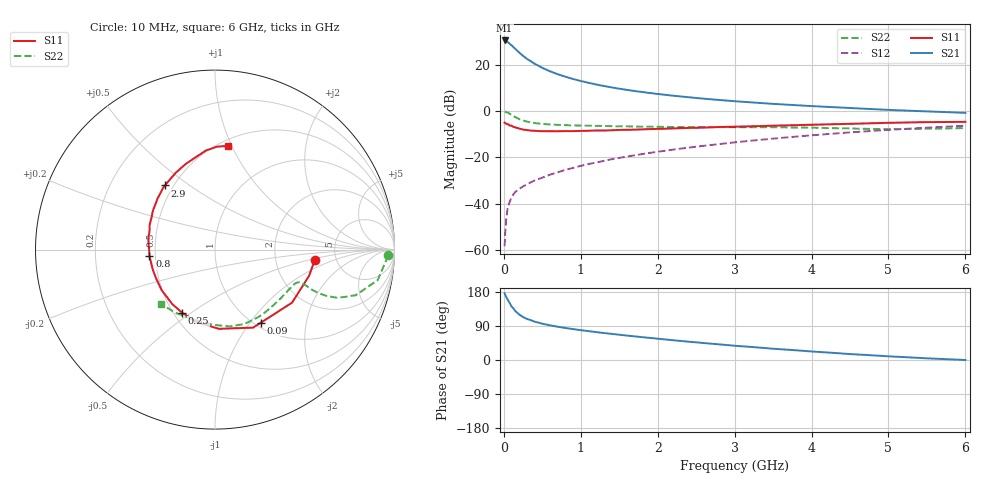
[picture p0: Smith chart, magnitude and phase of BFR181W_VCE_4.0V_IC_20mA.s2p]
! (c) 2017  Infineon Technologies AG, Munich
! Infineon Technologies  Discrete & RF Semiconductors
! BFR181W
! VCE =  4.0 V,  IC =  20 mA
! Common Emitter S-Parameters:  Jan 2017
# GHz  S  MA  R  50
!  f  S11  S21  S12  S22
! GHz  MAG  ANG  MAG  ANG  MAG  ANG  MAG  ANG
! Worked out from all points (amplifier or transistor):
!   77 points, 10 MHz to 6 GHz, reference 50 ohm
!   highest |S21| = 30.4 dB at 10 MHz (marker M1)
!   |S21| within 3 dB of that: start of sweep to 129.1 MHz
!   unconditionally stable (mu >= 1): 509.2 MHz to 2.543 GHz
!   at 130 MHz: K = 0.46, MSG = 31.6 dB, |S12| = -35.8 dB
!   at 2.2 GHz: K = 1.04, MAG = 10.4 dB, |S12| = -16.7 dB
!   at 6 GHz: K = 0.85, MSG = 2.8 dB, |S12| = -6.4 dB
!   S11 on the Smith chart (normalised r, x): 10 MHz: 3.41, -0.60; 90 MHz: 1.07, -1.13; 250 MHz: 0.55, -0.46; 800 MHz: 0.46, -0.04; 2.9 GHz: 0.45, +0.41; 6 GHz: 0.55, +0.97
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0.01  0.558 -6.2  33.29 176.1  0.0012 81.1  0.9643 -1.9
0.02  0.5445 -15.4  32.67 171.0  0.0027 93.2  0.9528 -4.1
0.05  0.5213 -34.5  30.93 158.8  0.0079 79.0  0.9216 -10.7
0.09  0.4807 -57.8  27 145.3  0.0125 70.6  0.842 -16.4
0.1  0.4839 -63.9  26.3 141.4  0.0137 69.4  0.8235 -18.0
0.15  0.442 -87.2  21.84 129.2  0.0179 62.7  0.735 -21.5
0.2  0.4165 -103.7  18.2 120.0  0.0207 62.2  0.6682 -22.6
0.25  0.3966 -117.5  15.46 113.4  0.0234 61.9  0.6223 -22.8
0.3  0.3858 -128.1  13.34 108.4  0.026 62.8  0.5879 -22.5
0.4  0.3734 -142.8  10.45 101.1  0.0314 64.9  0.5476 -21.6
0.5  0.3654 -153.6  8.513 95.8  0.0362 66.1  0.5249 -21.2
0.6  0.3642 -161.9  7.193 91.5  0.042 68.2  0.5104 -21.1
0.7  0.3634 -168.3  6.217 87.8  0.0472 70.7  0.5005 -21.3
0.8  0.3669 -174.3  5.487 84.4  0.0535 71.8  0.4933 -21.8
1.1  0.3739 172.6  4.055 76.2  0.0714 74.4  0.4797 -24.4
1.5  0.389 159.6  3.025 66.7  0.0969 74.8  0.4657 -29.5
2.1  0.414 144.4  2.228 54.2  0.1386 73.9  0.4522 -40.0
2.9  0.4533 128.0  1.672 39.5  0.2008 70.2  0.4465 -56.3
3.1  0.4609 124.3  1.58 36.2  0.2178 68.7  0.445 -60.4
4.1  0.5076 107.5  1.249 21.2  0.3063 60.6  0.4312 -81.4
5.1  0.5577 93.9  1.038 8.7  0.399 50.3  0.4057 -109.1
6  0.5817 83.0  0.909 0.0  0.4791 40.0  0.428 -134.6
